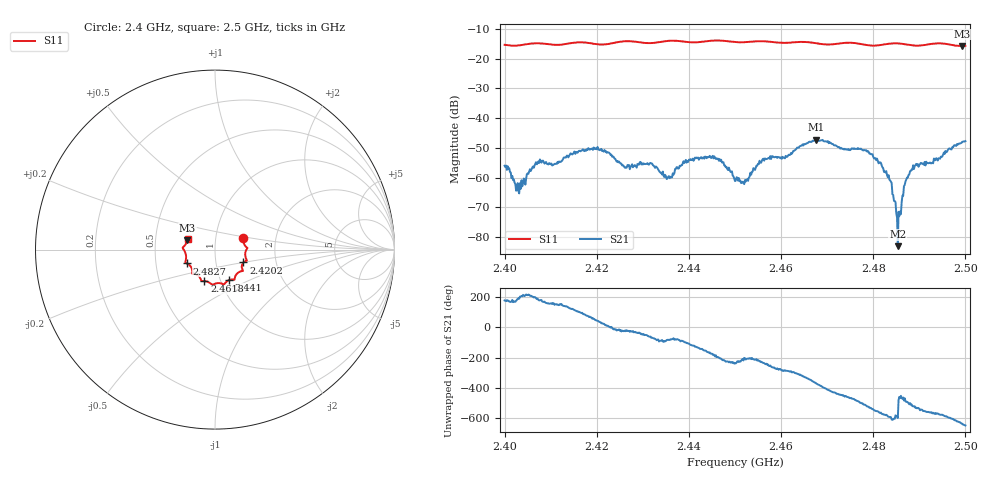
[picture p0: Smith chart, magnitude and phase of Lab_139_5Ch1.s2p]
# Hz S RI R 50
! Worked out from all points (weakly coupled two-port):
!   601 points, 2.4 GHz to 2.5 GHz, reference 50 ohm
!   highest |S21| = -47.19 dB at 2.4677 GHz (marker M1); lowest = -83.0 dB at 2.4853 GHz (marker M2)
!   lowest |S11| = -15.8 dB at 2.4993 GHz (marker M3), VSWR 1.39, Z = 36.5 + j3.85 ohm
!   |S11| at or under -10 dB: start of sweep to end of sweep
!   S12 and S22 are empty: the file has one direction only
!   S11 on the Smith chart (normalised r, x): 2.4 GHz: 1.36, +0.18; 2.4202 GHz: 1.36, -0.20; 2.441 GHz: 1.10, -0.39; 2.4618 GHz: 0.84, -0.30; 2.4827 GHz: 0.72, -0.12; 2.5 GHz: 0.73, +0.09
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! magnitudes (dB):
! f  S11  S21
! 2.4 GHz  -15.4  -56.0
! 2.403 GHz  -15.6  -64.5
! 2.4072 GHz  -14.8  -55.1
! 2.4167 GHz  -14.5  -50.9
! 2.4202 GHz  -15.2  -49.7
! 2.426 GHz  -14.2  -56.4
! 2.4333 GHz  -14.5  -57.3
! 2.4358 GHz  -14.0  -60.2
! 2.441 GHz  -14.6  -54.3
! 2.4465 GHz  -13.9  -54.3
! 2.45 GHz  -14.5  -61.2
! 2.4618 GHz  -14.6  -52.4
! 2.4667 GHz  -14.6  -48.0
! 2.4677 GHz  -14.9  -47.2
! 2.4785 GHz  -15.4  -50.8
! 2.4827 GHz  -15.2  -58.3
! 2.4833 GHz  -15.0  -59.1
! 2.4853 GHz  -14.9  -83.0
! 2.4872 GHz  -15.3  -60.6
! 2.4888 GHz  -15.6  -57.1
! 2.4993 GHz  -15.8  -47.9
! 2.5 GHz  -15.7  -47.7
